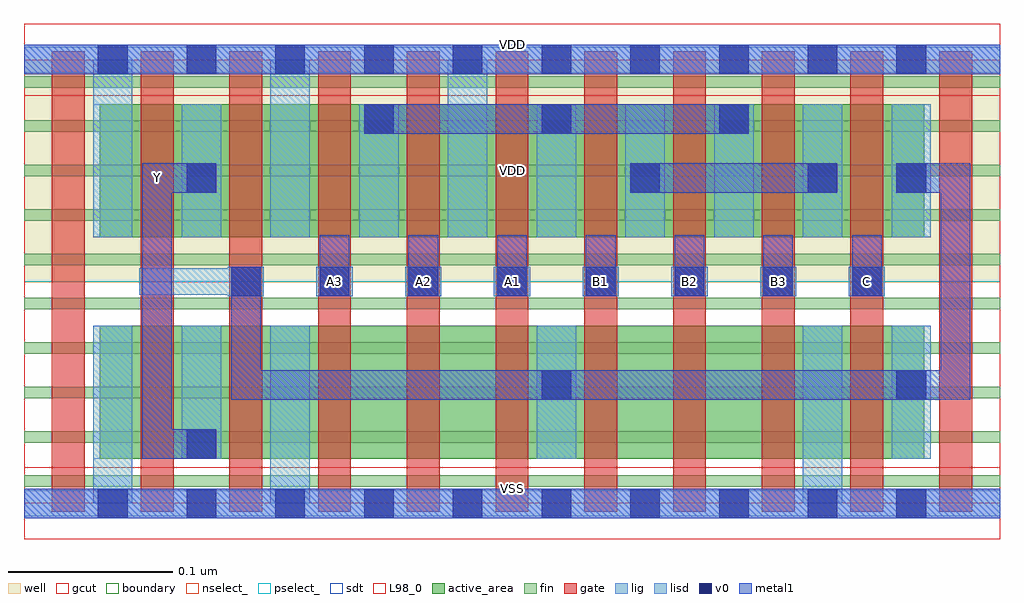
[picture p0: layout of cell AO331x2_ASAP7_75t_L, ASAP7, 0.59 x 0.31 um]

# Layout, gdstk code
import gdstk
lib = gdstk.Library(unit=1e-6, precision=2.5e-10)
def R(c, l, rs):  # rectangles x0, y0, x1, y1
    for r in rs: c.add(gdstk.rectangle(r[:2], r[2:], *l))
def A(c, l, x, y, w, h, nx, ny, dx, dy):  # array of equal rectangles
    R(c, l, [(x+i*dx, y+j*dy, x+i*dx+w, y+j*dy+h) for i in range(nx) for j in range(ny)])
def P(c, l, *ps):  # polygons
    for p in ps: c.add(gdstk.Polygon(p, *l))
well = (1, 0)
fin = (2, 0)
gate = (7, 0)
gcut = (10, 0)
active_area = (11, 0)
nselect_ = (12, 0)
pselect_ = (13, 0)
lig = (16, 0)
lisd = (17, 0)
v0 = (18, 0)
metal1 = (19, 0)
sdt = (88, 0)
L98_0 = (98, 0)
boundary = (100, 0)

ao331x2_asap7_75t_l = lib.new_cell('AO331x2_ASAP7_75t_L')
R(ao331x2_asap7_75t_l, well, [(0,0.135,0.594,0.27)])
A(ao331x2_asap7_75t_l, fin, 0, 0.01, 0.594, 0.007, 1, 10, 0, 0.027)
A(ao331x2_asap7_75t_l, gate, 0.017, -0.005, 0.02, 0.28, 11, 1, 0.054, 0)
R(ao331x2_asap7_75t_l, gcut, [(0,-0.022,0.594,0.022), (0,0.248,0.594,0.292)])
R(ao331x2_asap7_75t_l, active_area, [(0.046,0.027,0.548,0.108), (0.046,0.162,0.548,0.243)])
R(ao331x2_asap7_75t_l, nselect_, [(0,0,0.594,0.135)])
R(ao331x2_asap7_75t_l, pselect_, [(0,0.135,0.594,0.27)])
A(ao331x2_asap7_75t_l, lig, 0.124, 0.126, 0.022, 0.018, 8, 1, 0.054, 0)
R(ao331x2_asap7_75t_l, lig, [(0,-0.008,0.594,0.008), (0.07,0.127,0.146,0.143), (0,0.262,0.594,0.278)])
A(ao331x2_asap7_75t_l, lisd, 0.096, 0.027, 0.024, 0.081, 3, 1, 0.216, 0)
A(ao331x2_asap7_75t_l, lisd, 0.096, 0.162, 0.024, 0.081, 3, 1, 0.108, 0)
A(ao331x2_asap7_75t_l, lisd, 0.366, 0.162, 0.024, 0.081, 4, 1, 0.054, 0)
R(ao331x2_asap7_75t_l, lisd, [(0.042,0,0.066,0.108), (0.042,0,0.066,0.108), (0.15,0,0.174,0.108), (0.15,0,0.174,0.108), (0.474,0,0.498,0.108), (0.474,0,0.498,0.108), (0.042,0.162,0.066,0.27), (0.042,0.162,0.066,0.27), (0.15,0.162,0.174,0.27), (0.15,0.162,0.174,0.27), (0.258,0.162,0.282,0.27), (0.258,0.162,0.282,0.27)])
A(ao331x2_asap7_75t_l, v0, 0.045, -0.009, 0.018, 0.018, 10, 2, 0.054, 0.27)
A(ao331x2_asap7_75t_l, v0, 0.126, 0.126, 0.018, 0.018, 8, 1, 0.054, 0)
A(ao331x2_asap7_75t_l, v0, 0.207, 0.225, 0.018, 0.018, 3, 1, 0.108, 0)
R(ao331x2_asap7_75t_l, v0, [(0.099,0.027,0.117,0.045), (0.315,0.063,0.333,0.081), (0.531,0.063,0.549,0.081), (0.099,0.189,0.117,0.207), (0.369,0.189,0.387,0.207), (0.477,0.189,0.495,0.207), (0.531,0.189,0.549,0.207)])
A(ao331x2_asap7_75t_l, metal1, 0.126, 0.126, 0.018, 0.018, 8, 1, 0.054, 0)
A(ao331x2_asap7_75t_l, metal1, 0.18, 0.126, 0.018, 0.037, 7, 1, 0.054, 0)
A(ao331x2_asap7_75t_l, metal1, 0.207, 0.225, 0.018, 0.018, 3, 1, 0.108, 0)
R(ao331x2_asap7_75t_l, metal1, [(0,-0.009,0.594,0.009), (0.099,0.027,0.117,0.045), (0.315,0.063,0.333,0.081), (0.531,0.063,0.549,0.081), (0.099,0.189,0.117,0.207), (0.369,0.189,0.387,0.207), (0.369,0.189,0.495,0.207), (0.477,0.189,0.495,0.207), (0.531,0.189,0.549,0.207), (0.207,0.225,0.441,0.243), (0,0.261,0.594,0.279)])
P(ao331x2_asap7_75t_l, metal1, [(0.531,0.207),(0.531,0.189),(0.558,0.189),(0.558,0.081),(0.144,0.081),(0.144,0.144),(0.126,0.144),(0.126,0.063),(0.576,0.063),(0.576,0.207)],
  [(0.117,0.045),(0.09,0.045),(0.09,0.189),(0.117,0.189),(0.117,0.207),(0.072,0.207),(0.072,0.027),(0.117,0.027)])
A(ao331x2_asap7_75t_l, sdt, 0.042, 0.027, 0.024, 0.081, 3, 2, 0.054, 0.135)
A(ao331x2_asap7_75t_l, sdt, 0.15, 0.027, 0.024, 0.081, 3, 1, 0.162, 0)
A(ao331x2_asap7_75t_l, sdt, 0.15, 0.162, 0.024, 0.081, 3, 1, 0.054, 0)
A(ao331x2_asap7_75t_l, sdt, 0.258, 0.162, 0.024, 0.081, 6, 1, 0.054, 0)
R(ao331x2_asap7_75t_l, sdt, [(0.042,0.027,0.066,0.108), (0.474,0.027,0.498,0.108), (0.528,0.027,0.552,0.108), (0.042,0.162,0.066,0.243)])
R(ao331x2_asap7_75t_l, L98_0, [(0,0,0.594,0.27)])
R(ao331x2_asap7_75t_l, boundary, [(0,0,0.594,0.27)])
ao331x2_asap7_75t_l.add(gdstk.Label('VDD', (0.297,0.2025), layer=1, texttype=251))
ao331x2_asap7_75t_l.add(gdstk.Label('VSS', (0.297,-0.0675), layer=3, texttype=251))
ao331x2_asap7_75t_l.add(gdstk.Label('VSS', (0.297,0.009), layer=19, texttype=251))
ao331x2_asap7_75t_l.add(gdstk.Label('VDD', (0.297,0.279), layer=19, texttype=251))
ao331x2_asap7_75t_l.add(gdstk.Label('Y', (0.081,0.198), layer=19, texttype=251))
ao331x2_asap7_75t_l.add(gdstk.Label('A3', (0.189,0.135), layer=19, texttype=251))
ao331x2_asap7_75t_l.add(gdstk.Label('A2', (0.243,0.135), layer=19, texttype=251))
ao331x2_asap7_75t_l.add(gdstk.Label('A1', (0.297,0.135), layer=19, texttype=251))
ao331x2_asap7_75t_l.add(gdstk.Label('B1', (0.351,0.135), layer=19, texttype=251))
ao331x2_asap7_75t_l.add(gdstk.Label('B2', (0.405,0.135), layer=19, texttype=251))
ao331x2_asap7_75t_l.add(gdstk.Label('B3', (0.459,0.135), layer=19, texttype=251))
ao331x2_asap7_75t_l.add(gdstk.Label('C', (0.513,0.135), layer=19, texttype=251))

lib.write_gds('AO331x2_ASAP7_75t_L.gds')
